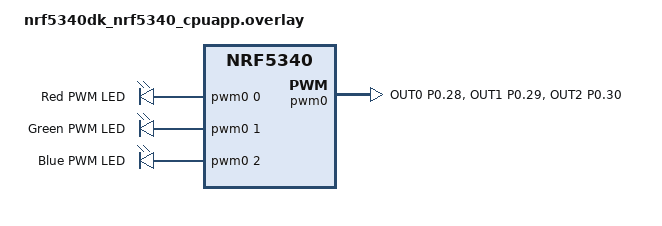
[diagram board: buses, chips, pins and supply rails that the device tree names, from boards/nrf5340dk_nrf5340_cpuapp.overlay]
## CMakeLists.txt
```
cmake_minimum_required(VERSION 3.20.5)

list(APPEND ZEPHYR_EXTRA_MODULES ${CMAKE_CURRENT_LIST_DIR}/../../)
find_package(Zephyr REQUIRED HINTS $ENV{ZEPHYR_BASE})
project(multi_node)

target_sources(app PRIVATE src/main.c)
```

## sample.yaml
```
sample:
  name: multi_node
common:
  tags: LED
  build_only: true
  integration_platforms:
    - nucleo_l432kc
tests:
  samples.multi_node:
    filter: dt_compat_enabled("gpio-leds")
```

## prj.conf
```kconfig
CONFIG_LOG=y
CONFIG_LED=y
CONFIG_PWM=y
CONFIG_LED_PWM=y
CONFIG_APP_LED=y
```

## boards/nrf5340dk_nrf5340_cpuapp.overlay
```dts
&pinctrl {
	pwm0_default_alt: pwm0_default_alt {
				group1 {
					psels = <NRF_PSEL(PWM_OUT0, 0, 28)>, // red
						<NRF_PSEL(PWM_OUT1, 0, 29)>, // green
						<NRF_PSEL(PWM_OUT2, 0, 30)>; // blue
					nordic,invert;
				};
			};

	pwm0_sleep_alt: pwm0_sleep_alt {
				group1 {
					psels = <NRF_PSEL(PWM_OUT0, 0, 28)>, // red
						<NRF_PSEL(PWM_OUT1, 0, 29)>, // green
						<NRF_PSEL(PWM_OUT2, 0, 30)>; // blue
				};
			};
};

&pwm0 {
	status = "okay";
	pinctrl-0 = <&pwm0_default_alt>;
	pinctrl-1 = <&pwm0_sleep_alt>;
	pinctrl-names = "default", "sleep";
};

/ {
	/delete-node/ pwmleds;
	appled0: appled0 {
		compatible = "pwm-leds";

		red_pwm_led: led_pwm_0 {
			pwms = <&pwm0 0 PWM_HZ(200) PWM_POLARITY_INVERTED>;
			label = "Red PWM LED";
		};
	};

	appled1: appled1 {
		compatible = "pwm-leds";

		green_pwm_led: led_pwm_1 {
			pwms = <&pwm0 1 PWM_HZ(200) PWM_POLARITY_INVERTED>;
			label = "Green PWM LED";
		};
	};

	appled2: appled2 {
		compatible = "pwm-leds";

		blue_pwm_led: led_pwm_2 {
			pwms = <&pwm0 2 PWM_HZ(200) PWM_POLARITY_INVERTED>;
			label = "Blue PWM LED";
		};
	};

	/delete-node/ aliases;
	aliases {
		appled0 = &appled0;
		appled1 = &appled1;
		appled2 = &appled2;
	};
};
```

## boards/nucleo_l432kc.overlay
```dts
/ {
	appled0: appled0 {
		compatible = "pwm-leds";

		red_pwm_led: led_pwm_0 {
			pwms = <&pwm2 4 PWM_HZ(200) PWM_POLARITY_INVERTED>;
			label = "Red PWM LED";
		};
	};

	appled1: appled1 {
		compatible = "pwm-leds";

		green_pwm_led: led_pwm_1 {
			pwms = <&pwm2 1 PWM_HZ(200) PWM_POLARITY_INVERTED>;
			label = "Green PWM LED";
		};
	};

	appled2: appled2 {
		compatible = "pwm-leds";

		blue_pwm_led: led_pwm_2 {
			pwms = <&pwm2 2 PWM_HZ(200) PWM_POLARITY_INVERTED>;
			label = "Blue PWM LED";
		};
	};

	aliases {
		appled0 = &appled0;
		appled1 = &appled1;
		appled2 = &appled2;
	};
};

&timers2 {
	status = "okay";

	pwm2: pwm {
		status = "okay";
		pinctrl-0 = <&tim2_ch1_pa0 &tim2_ch2_pa1 &tim2_ch4_pa3>;
		pinctrl-names = "default";
	};
};
```

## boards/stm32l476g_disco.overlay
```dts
/ {
	appled0: appled0 {
		compatible = "pwm-leds";

		red_pwm_led: led_pwm_0 {
			pwms = <&pwm2 4 PWM_HZ(200) PWM_POLARITY_INVERTED>;
			label = "Red PWM LED";
		};
	};

	appled1: appled1 {
		compatible = "pwm-leds";

		green_pwm_led: led_pwm_1 {
			pwms = <&pwm2 1 PWM_HZ(200) PWM_POLARITY_INVERTED>;
			label = "Green PWM LED";
		};
	};

	appled2: appled2 {
		compatible = "pwm-leds";

		blue_pwm_led: led_pwm_2 {
			pwms = <&pwm2 2 PWM_HZ(200) PWM_POLARITY_INVERTED>;
			label = "Blue PWM LED";
		};
	};

	aliases {
		appled0 = &appled0;
		appled1 = &appled1;
		appled2 = &appled2;
	};
};

&timers2 {
	status = "okay";

	pwm2: pwm {
		status = "okay";
		pinctrl-0 = <&tim2_ch1_pa0 &tim2_ch2_pa1 &tim2_ch4_pa3>;
		pinctrl-names = "default";
	};
};
```

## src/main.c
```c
/**
 * @file main.c
 * @brief App LED multi dts node demo application
 *
 * Demos using aliases of LED clusters to control independant App LEDs
 *
 */
#include <zephyr/device.h>
#include <zephyr/kernel.h>
#include <zephyr/logging/log.h>
#include <zephyr/drivers/gpio.h>
#include <zephyr/drivers/pwm.h>
#include <zephyr/drivers/led_strip.h>

#include <app_led/led.h>

LOG_MODULE_REGISTER(demo_app_led, LOG_LEVEL_INF);

APP_LED_STATIC_IDV_DEFINE(led0, DT_ALIAS(appled0));
APP_LED_STATIC_IDV_DEFINE(led1, DT_ALIAS(appled1));
APP_LED_STATIC_IDV_DEFINE(led2, DT_ALIAS(appled2));

int main(void)
{
	if (app_led_init(&led0) != 0) {
		LOG_ERR("Failed to initialize %s", led0.app_led->name);
		return 1;
	}
	if (app_led_init(&led1) != 0) {
		LOG_ERR("Failed to initialize %s", led1.app_led->name);
		return 1;
	}
	if (app_led_init(&led2) != 0) {
		LOG_ERR("Failed to initialize %s", led2.app_led->name);
		return 1;
	}

	/* 3rd LED set to breathe sequence forever */
	app_led_set_global_color(&led2, RGBHEX(White), K_MSEC(100));
	app_led_run_sequence(&led2, app_led_breathe_sequence, -1, K_MSEC(100));

	while (true) {
		/* Other two blink at different rates */
		app_led_blink(&led0, RGBHEX(White), 100, 100, false, K_MSEC(100));
		app_led_blink(&led1, RGBHEX(White), 50, 50, false, K_MSEC(100));
		k_sleep(K_MSEC(10));
	}

	return 0;
}
```
